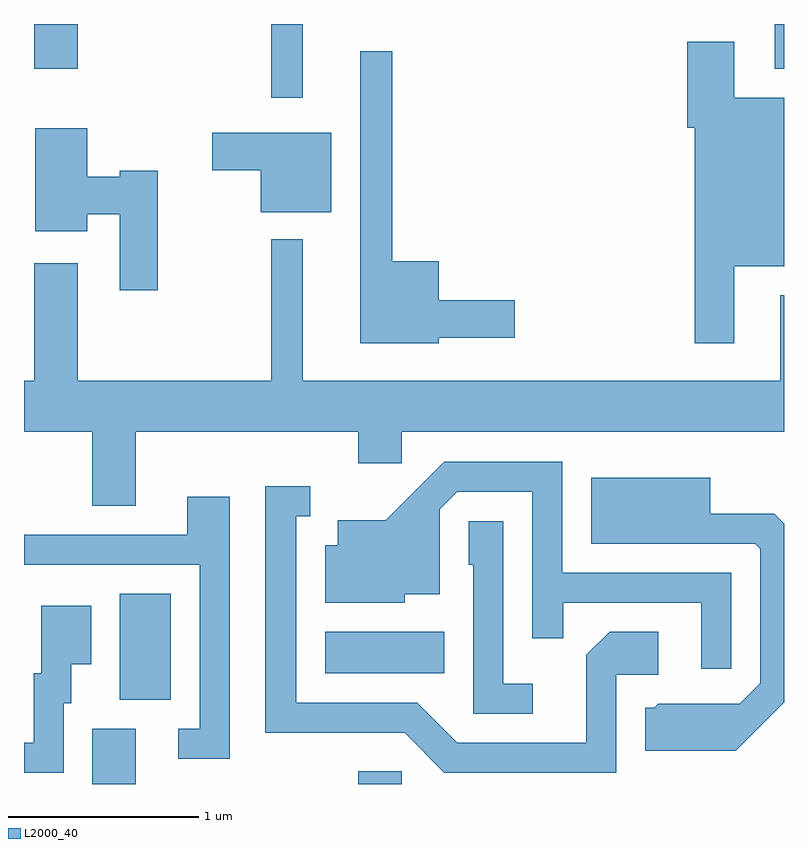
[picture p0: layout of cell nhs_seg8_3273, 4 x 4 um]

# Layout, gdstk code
import gdstk
lib = gdstk.Library(unit=1e-6, precision=1e-09)
def R(c, l, rs):  # rectangles x0, y0, x1, y1
    for r in rs: c.add(gdstk.rectangle(r[:2], r[2:], *l))
def P(c, l, *ps):  # polygons
    for p in ps: c.add(gdstk.Polygon(p, *l))
L2000_40 = (2000, 40)

nhs_seg8_3273 = lib.new_cell('nhs_seg8_3273')
R(nhs_seg8_3273, L2000_40, [(283.971,1832.342,284.199,1832.634), (285.371,1832.342,285.599,1832.409), (284.116,1832.786,284.384,1833.344), (285.196,1832.926,285.824,1833.144), (284.911,1835.953,285.079,1836.342), (283.666,1836.106,283.894,1836.342), (287.561,1836.106,287.611,1836.342)])
P(nhs_seg8_3273, L2000_40, [(287.349,1835.066),(287.611,1835.066),(287.611,1835.954),(287.349,1835.954),(287.349,1836.249),(287.101,1836.249),(287.101,1835.796),(287.141,1835.796),(287.141,1834.661),(287.349,1834.661)],
  [(285.794,1834.691),(286.194,1834.691),(286.194,1834.889),(285.794,1834.889),(285.794,1835.094),(285.549,1835.094),(285.549,1836.198),(285.381,1836.198),(285.381,1834.661),(285.794,1834.661)],
  [(284.314,1835.569),(284.116,1835.569),(284.116,1835.539),(283.944,1835.539),(283.944,1835.794),(283.671,1835.794),(283.671,1835.251),(283.944,1835.251),(283.944,1835.341),(284.116,1835.341),(284.116,1834.941),(284.314,1834.941)],
  [(285.229,1835.769),(284.601,1835.769),(284.601,1835.571),(284.856,1835.571),(284.856,1835.351),(285.229,1835.351)],
  [(284.199,1834.196),(285.371,1834.196),(285.371,1834.031),(285.599,1834.031),(285.599,1834.196),(287.611,1834.196),(287.611,1834.914),(287.591,1834.914),(287.591,1834.464),(285.079,1834.464),(285.079,1835.208),(284.911,1835.208),(284.911,1834.464),(283.894,1834.464),(283.894,1835.084),(283.666,1835.084),(283.666,1834.464),(283.611,1834.464),(283.611,1834.196),(283.971,1834.196),(283.971,1833.806),(284.199,1833.806)],
  [(287.334,1833.454),(286.444,1833.454),(286.444,1834.039),(285.824,1834.039),(285.514,1833.729),(285.261,1833.729),(285.261,1833.599),(285.196,1833.599),(285.196,1833.296),(285.614,1833.296),(285.614,1833.341),(285.799,1833.341),(285.799,1833.789),(285.892,1833.881),(286.286,1833.881),(286.286,1833.108),(286.449,1833.108),(286.449,1833.296),(287.176,1833.296),(287.176,1832.948),(287.334,1832.948)],
  [(287.611,1832.771),(287.611,1833.712),(287.559,1833.764),(287.224,1833.764),(287.224,1833.954),(286.596,1833.954),(286.596,1833.606),(287.459,1833.606),(287.486,1833.579),(287.486,1832.872),(287.379,1832.764),(286.949,1832.764),(286.929,1832.744),(286.881,1832.744),(286.881,1832.516),(287.357,1832.516)],
  [(286.729,1832.916),(286.949,1832.916),(286.949,1833.144),(286.694,1833.144),(286.571,1833.022),(286.571,1832.559),(285.892,1832.559),(285.682,1832.769),(285.044,1832.769),(285.044,1833.751),(285.118,1833.751),(285.118,1833.909),(284.881,1833.909),(284.881,1832.611),(285.614,1832.611),(285.824,1832.401),(286.729,1832.401)],
  [(284.694,1833.854),(284.471,1833.854),(284.471,1833.654),(283.611,1833.654),(283.611,1833.496),(284.536,1833.496),(284.536,1832.634),(284.423,1832.634),(284.423,1832.476),(284.694,1832.476)],
  [(286.288,1832.869),(286.134,1832.869),(286.134,1833.724),(285.951,1833.724),(285.951,1833.496),(285.976,1833.496),(285.976,1832.711),(286.288,1832.711)],
  [(283.819,1832.766),(283.859,1832.766),(283.859,1832.971),(283.964,1832.971),(283.964,1833.279),(283.701,1833.279),(283.701,1832.924),(283.661,1832.924),(283.661,1832.559),(283.611,1832.559),(283.611,1832.401),(283.819,1832.401)])

lib.write_gds('nhs_seg8_3273.gds')
